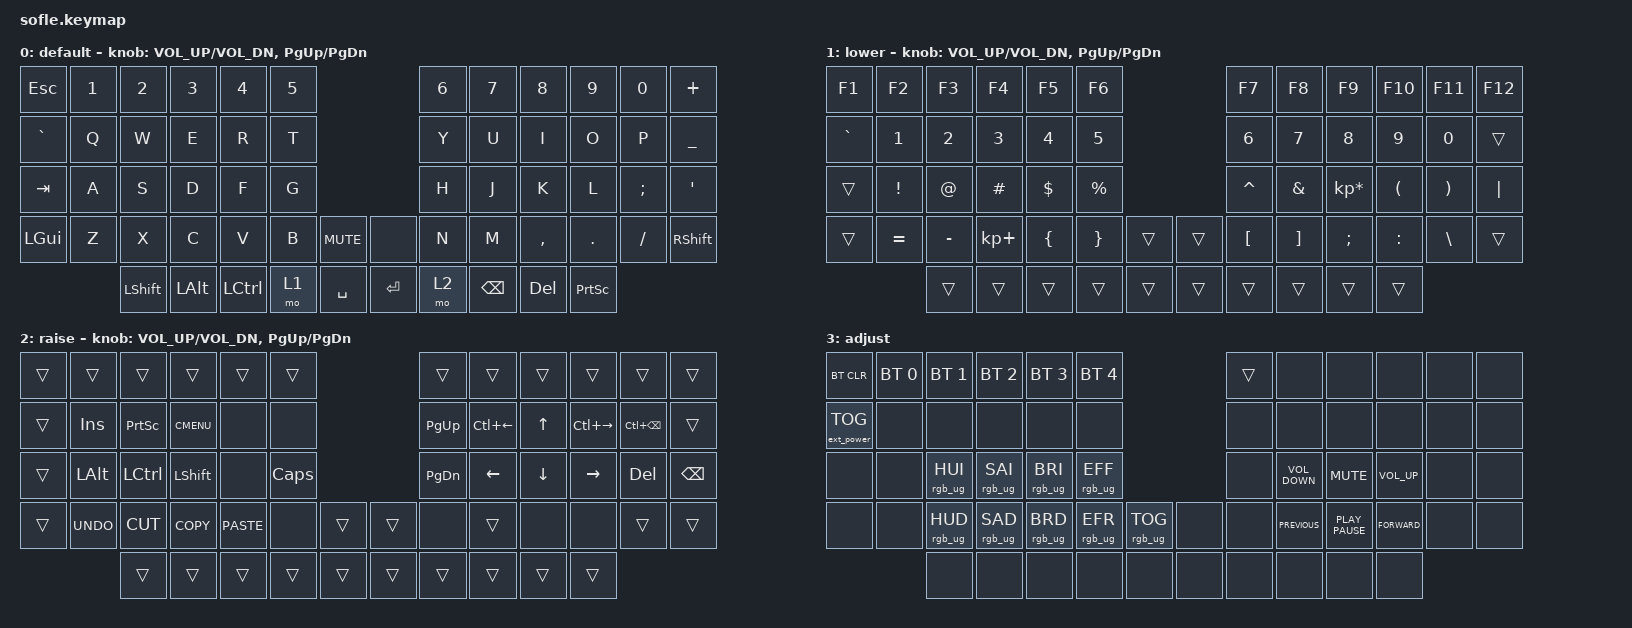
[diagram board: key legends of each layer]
/*
 * Copyright (c) 2020 The ZMK Contributors
 *
 * SPDX-License-Identifier: MIT
 */

#include <behaviors.dtsi>
#include <dt-bindings/zmk/bt.h>
#include <dt-bindings/zmk/ext_power.h>
#include <dt-bindings/zmk/keys.h>
#include <dt-bindings/zmk/rgb.h>

#define BASE 0
#define LOWER 1
#define RAISE 2
#define ADJUST 3

/ {
    // Activate ADJUST layer by pressing raise and lower

    conditional_layers {
        compatible = "zmk,conditional-layers";

        adjust_layer {
            if-layers = <1 2>;
            then-layer = <3>;
        };
    };

    keymap {
        compatible = "zmk,keymap";

        default_layer {
            label = "default";

            // ------------------------------------------------------------------------------------------------------------
            // |   `   |  1  |  2  |  3   |  4   |  5   |                   |  6   |  7    |  8    |  9   |   0   |       |
            // |  ESC  |  Q  |  W  |  E   |  R   |  T   |                   |  Y   |  U    |  I    |  O   |   P   | BKSPC |
            // |  TAB  |  A  |  S  |  D   |  F   |  G   |                   |  H   |  J    |  K    |  L   |   ;   |   '   |
            // | SHIFT |  Z  |  X  |  C   |  V   |  B   |  MUTE  |  |       |  N   |  M    |  ,    |  .   |   /   | SHIFT |
            //               | GUI | ALT  | CTRL | LOWER|  ENTER |  | SPACE | RAISE| CTRL  | ALT   | GUI  |

            bindings = <
&kp ESC       &kp N1  &kp N2          &kp N3    &kp N4     &kp N5                           &kp N6  &kp N7         &kp N8      &kp N9           &kp N0    &kp PLUS
&kp GRAVE     &kp Q   &kp W           &kp E     &kp R      &kp T                            &kp Y   &kp U          &kp I       &kp O            &kp P     &kp UNDERSCORE
&kp TAB       &kp A   &kp S           &kp D     &kp F      &kp G                            &kp H   &kp J          &kp K       &kp L            &kp SEMI  &kp SQT
&kp LEFT_GUI  &kp Z   &kp X           &kp C     &kp V      &kp B   &kp C_MUTE    &none      &kp N   &kp M          &kp COMMA   &kp DOT          &kp FSLH  &kp RSHFT
                      &kp LEFT_SHIFT  &kp LALT  &kp LCTRL  &mo 1   &kp SPACE     &kp ENTER  &mo 2   &kp BACKSPACE  &kp DELETE  &kp PRINTSCREEN
            >;

            sensor-bindings = <&inc_dec_kp C_VOL_UP C_VOL_DN &inc_dec_kp PG_UP PG_DN>;
        };

        lower_layer {
            label = "lower";

            // TODO: Some binds are waiting for shifted keycode support.
            // ------------------------------------------------------------------------------------------------------------
            // |       |  F1 |  F2 |  F3  |  F4  |  F5  |                   |  F6  |  F7   |  F8   |  F9  |  F10  |  F11  |
            // |   `   |  1  |  2  |  3   |  4   |  5   |                   |  6   |  7    |  8    |  9   |   0   |  F12  |
            // |       |  !  |  @  |  #   |  $   |  %   |                   |  ^   |  &    |  *    |  (   |   )   |   |   |
            // |       |  =  |  -  |  +   |  {   |  }   |        |  |       |  [   |  ]    |  ;    |  :   |   \   |       |
            //               |     |      |      |      |        |  |       |      |       |       |      |

            bindings = <
&kp F1     &kp F2        &kp F3        &kp F4        &kp F5        &kp F6                          &kp F7        &kp F8        &kp F9           &kp F10       &kp F11       &kp F12
&kp GRAVE  &kp NUMBER_1  &kp NUMBER_2  &kp NUMBER_3  &kp NUMBER_4  &kp NUMBER_5                    &kp NUMBER_6  &kp NUMBER_7  &kp NUMBER_8     &kp NUMBER_9  &kp NUMBER_0  &trans
&trans     &kp EXCL      &kp AT        &kp HASH      &kp DLLR      &kp PRCNT                       &kp CARET     &kp AMPS      &kp KP_MULTIPLY  &kp LPAR      &kp RPAR      &kp PIPE
&trans     &kp EQUAL     &kp MINUS     &kp KP_PLUS   &kp LBRC      &kp RBRC      &trans    &trans  &kp LBKT      &kp RBKT      &kp SEMI         &kp COLON     &kp BSLH      &trans
                         &trans        &trans        &trans        &trans        &trans    &trans  &trans        &trans        &trans           &trans
            >;

            sensor-bindings = <&inc_dec_kp C_VOL_UP C_VOL_DN &inc_dec_kp PG_UP PG_DN>;
        };

        raise_layer {
            label = "raise";

            // ------------------------------------------------------------------------------------------------------------
            // | BTCLR | BT1  | BT2  |  BT3  |  BT4  |  BT5 |                |      |      |       |      |       |       |
            // |       | INS  | PSCR | GUI   |       |      |                | PGUP |      |   ^   |      |       |       |
            // |       | ALT  | CTRL | SHIFT |       | CAPS |                | PGDN |   <- |   v   |  ->  |  DEL  | BKSPC |
            // |       | UNDO | CUT  | COPY  | PASTE |      |      |  |      |      |      |       |      |       |       |
            //                |      |       |       |      |      |  |      |      |      |       |      |

            bindings = <
&trans  &trans      &trans     &trans       &trans       &trans                      &trans     &trans        &trans    &trans         &trans             &trans
&trans  &kp INS     &kp PSCRN  &kp K_CMENU  &none        &none                       &kp PG_UP  &kp LC(LEFT)  &kp UP    &kp LC(RIGHT)  &kp LC(BACKSPACE)  &trans
&trans  &kp LALT    &kp LCTRL  &kp LSHFT    &none        &kp CLCK                    &kp PG_DN  &kp LEFT      &kp DOWN  &kp RIGHT      &kp DEL            &kp BSPC
&trans  &kp K_UNDO  &kp K_CUT  &kp K_COPY   &kp K_PASTE  &none     &trans    &trans  &none      &trans        &none     &none          &trans             &trans
                    &trans     &trans       &trans       &trans    &trans    &trans  &trans     &trans        &trans    &trans
            >;

            sensor-bindings = <&inc_dec_kp C_VOL_UP C_VOL_DN &inc_dec_kp PG_UP PG_DN>;
        };

        adjust_layer {
            // ----------------------------------------------------------------------------------------------------------------------------
            // | BTCLR  |  BT1    |  BT2    |   BT3   |   BT4   |   BT5   |                  |      |      |       |      |       |       |
            // | EXTPWR | RGB_HUD | RGB_HUI | RGB_SAD | RGB_SAI | RGB_EFF |                  |      |      |       |      |       |       |
            // |        | RGB_BRD | RGB_BRI |         |         |         |                  |      |      |       |      |       |       |
            // |        |         |         |         |         |         | RGB_TOG | |      |      |      |       |      |       |       |
            //                    |         |         |         |         |         | |      |      |      |       |      |

            label = "adjust";
            bindings = <
&bt BT_CLR         &bt BT_SEL 0  &bt BT_SEL 1     &bt BT_SEL 2     &bt BT_SEL 3     &bt BT_SEL 4                               &trans  &none              &none             &none            &none  &none
&ext_power EP_TOG  &none         &none            &none            &none            &none                                      &none   &none              &none             &none            &none  &none
&none              &none         &rgb_ug RGB_HUI  &rgb_ug RGB_SAI  &rgb_ug RGB_BRI  &rgb_ug RGB_EFF                            &none   &kp C_VOLUME_DOWN  &kp K_MUTE        &kp C_VOLUME_UP  &none  &none
&none              &none         &rgb_ug RGB_HUD  &rgb_ug RGB_SAD  &rgb_ug RGB_BRD  &rgb_ug RGB_EFR  &rgb_ug RGB_TOG    &none  &none   &kp K_PREVIOUS     &kp K_PLAY_PAUSE  &kp K_FORWARD    &none  &none
                                 &none            &none            &none            &none            &none              &none  &none   &none              &none             &none
            >;
        };
    };
};
